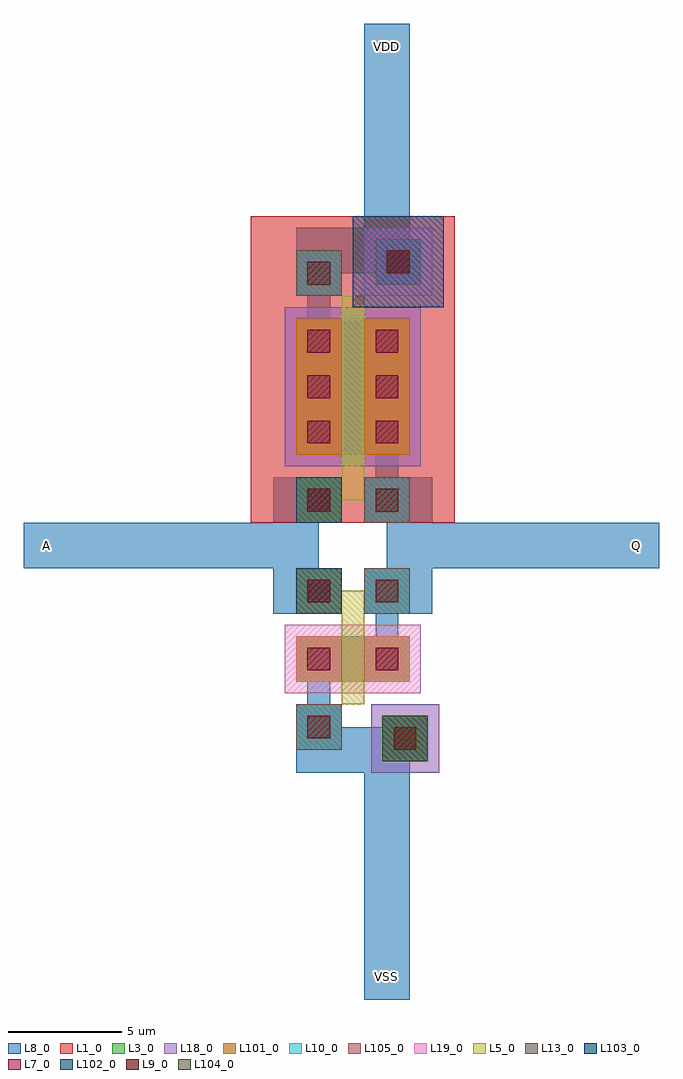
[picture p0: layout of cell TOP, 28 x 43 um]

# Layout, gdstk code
import gdstk
lib = gdstk.Library(unit=1e-6, precision=1e-07)
def R(c, l, rs):  # rectangles x0, y0, x1, y1
    for r in rs: c.add(gdstk.rectangle(r[:2], r[2:], *l))
L1_0 = (1, 0)
L3_0 = (3, 0)
L5_0 = (5, 0)
L7_0 = (7, 0)
L8_0 = (8, 0)
L9_0 = (9, 0)
L10_0 = (10, 0)
L13_0 = (13, 0)
L18_0 = (18, 0)
L19_0 = (19, 0)
L101_0 = (101, 0)
L102_0 = (102, 0)
L103_0 = (103, 0)
L104_0 = (104, 0)
L105_0 = (105, 0)

dcont = lib.new_cell('dcont')
R(dcont, L3_0, [(-1,-1,1,1)])
R(dcont, L7_0, [(-0.5,-0.5,0.5,0.5)])
R(dcont, L8_0, [(-1,-1,1,1)])
R(dcont, L13_0, [(-0.5,-0.5,0.5,0.5)])
R(dcont, L101_0, [(-1,-1,1,1)])

pcont = lib.new_cell('pcont')
R(pcont, L5_0, [(-1,-1,1,1)])
R(pcont, L7_0, [(-0.5,-0.5,0.5,0.5)])
R(pcont, L8_0, [(-1,-1,1,1)])
R(pcont, L13_0, [(-0.5,-0.5,0.5,0.5)])
R(pcont, L102_0, [(-1,-1,1,1)])

via = lib.new_cell('Via')
R(via, L8_0, [(-1,-1,1,1)])
R(via, L9_0, [(-0.5,-0.5,0.5,0.5)])
R(via, L10_0, [(-1,-1,1,1)])
R(via, L13_0, [(-0.5,-0.5,0.5,0.5)])
R(via, L105_0, [(-1,-1,1,1)])

dcont1 = lib.new_cell('dcont1')
R(dcont1, L3_0, [(-1,-1,1,1)])
R(dcont1, L7_0, [(-0.5,-0.5,0.5,0.5)])
R(dcont1, L8_0, [(-1,-1,1,1)])
R(dcont1, L13_0, [(-0.5,-0.5,0.5,0.5)])
R(dcont1, L101_0, [(-1,-1,1,1)])

nsubcont = lib.new_cell('nsubcont')
R(nsubcont, L1_0, [(-2,-2,2,2)])
R(nsubcont, L19_0, [(-1.5,-1.5,1.5,1.5)])
R(nsubcont, L103_0, [(-2,-2,2,2)])
nsubcont.add(gdstk.Reference(dcont1, (0,0)))

pch = lib.new_cell('Pch')
R(pch, L1_0, [(-2,0,7,13.5)])
R(pch, L3_0, [(0,3,5,9)])
R(pch, L18_0, [(-0.5,2.5,5.5,9.5)])
pch.add(gdstk.FlexPath([(2.5,3),(2.5,9)], 1, ends=(1, 1), simple_path=True, layer=5, datatype=0))  # L5_0
pch.add(gdstk.FlexPath([(1,1.5),(2.5,1.5),(2.5,2)], 1, ends="flush", simple_path=True, layer=5, datatype=0))  # L5_0
pch.add(gdstk.FlexPath([(1,3),(1,9)], 2, ends="flush", simple_path=True, layer=8, datatype=0))  # L8_0
pch.add(gdstk.FlexPath([(4,3),(4,9)], 2, ends="flush", simple_path=True, layer=8, datatype=0))  # L8_0
pch.add(gdstk.FlexPath([(1,8),(1,11)], 1, ends="flush", simple_path=True, layer=8, datatype=0))  # L8_0
pch.add(gdstk.FlexPath([(4,1),(4,4)], 1, ends="flush", simple_path=True, layer=8, datatype=0))  # L8_0
pch.add(gdstk.Reference(dcont, (1,4)))
pch.add(gdstk.Reference(dcont, (1,6)))
pch.add(gdstk.Reference(dcont, (1,8)))
pch.add(gdstk.Reference(dcont, (4,4)))
pch.add(gdstk.Reference(dcont, (4,6)))
pch.add(gdstk.Reference(dcont, (4,8)))
pch.add(gdstk.Reference(pcont, (1,1)))
pch.add(gdstk.Reference(via, (1,1)))
pch.add(gdstk.Reference(via, (1,11)))
pch.add(gdstk.Reference(via, (4,1)))
pch.add(gdstk.Reference(nsubcont, (4.5,11.5)))
pch.add(gdstk.Reference(via, (4.5,11.5)))

psubcont = lib.new_cell('psubcont')
R(psubcont, L18_0, [(-1.5,-1.5,1.5,1.5)])
R(psubcont, L104_0, [(-1,-1,1,1)])
psubcont.add(gdstk.Reference(dcont1, (0,0)))

nch = lib.new_cell('Nch')
R(nch, L3_0, [(0,3,5,5)])
R(nch, L19_0, [(-0.5,2.5,5.5,5.5)])
nch.add(gdstk.FlexPath([(2.5,3),(2.5,5)], 1, ends=(1, 1), simple_path=True, layer=5, datatype=0))  # L5_0
nch.add(gdstk.FlexPath([(1,6.5),(2.5,6.5),(2.5,6)], 1, ends="flush", simple_path=True, layer=5, datatype=0))  # L5_0
nch.add(gdstk.FlexPath([(1,3),(1,5)], 2, ends="flush", simple_path=True, layer=8, datatype=0))  # L8_0
nch.add(gdstk.FlexPath([(4,3),(4,5)], 2, ends="flush", simple_path=True, layer=8, datatype=0))  # L8_0
nch.add(gdstk.FlexPath([(1,1),(1,4)], 1, ends="flush", simple_path=True, layer=8, datatype=0))  # L8_0
nch.add(gdstk.FlexPath([(4,4),(4,7)], 1, ends="flush", simple_path=True, layer=8, datatype=0))  # L8_0
nch.add(gdstk.Reference(dcont, (1,4)))
nch.add(gdstk.Reference(dcont, (4,4)))
nch.add(gdstk.Reference(pcont, (1,7)))
nch.add(gdstk.Reference(via, (1,7)))
nch.add(gdstk.Reference(via, (1,1)))
nch.add(gdstk.Reference(via, (4,7)))
nch.add(gdstk.Reference(psubcont, (4.8,0.5)))
nch.add(gdstk.Reference(via, (4.8,0.5)))

top = lib.new_cell('TOP')
top.add(gdstk.FlexPath([(25,37),(24,37),(24,33),(25,33)], 2, ends="flush", simple_path=True, layer=8, datatype=0))  # L8_0
top.add(gdstk.FlexPath([(28,37),(29,37),(29,33),(28,33)], 2, ends="flush", simple_path=True, layer=8, datatype=0))  # L8_0
top.add(gdstk.FlexPath([(24,35),(12,35)], 2, ends="flush", simple_path=True, layer=8, datatype=0))  # L8_0
top.add(gdstk.FlexPath([(29,35),(40,35)], 2, ends="flush", simple_path=True, layer=8, datatype=0))  # L8_0
top.add(gdstk.FlexPath([(25,47),(25,48),(29,48)], 2, ends="flush", simple_path=True, layer=8, datatype=0))  # L8_0
top.add(gdstk.FlexPath([(28,48),(28,58)], 2, ends="flush", simple_path=True, layer=8, datatype=0))  # L8_0
top.add(gdstk.FlexPath([(25,27),(25,26),(29,26)], 2, ends="flush", simple_path=True, layer=8, datatype=0))  # L8_0
top.add(gdstk.FlexPath([(28,26),(28,15)], 2, ends="flush", simple_path=True, layer=8, datatype=0))  # L8_0
top.add(gdstk.Reference(pch, (24,36)))
top.add(gdstk.Reference(nch, (24,26)))
top.add(gdstk.Label('VDD', (28,57), layer=8, texttype=0))
top.add(gdstk.Label('VSS', (28,16), layer=8, texttype=0))
top.add(gdstk.Label('A', (13,35), layer=8, texttype=0))
top.add(gdstk.Label('Q', (39,35), layer=8, texttype=0))

lib.write_gds('TOP.gds')
